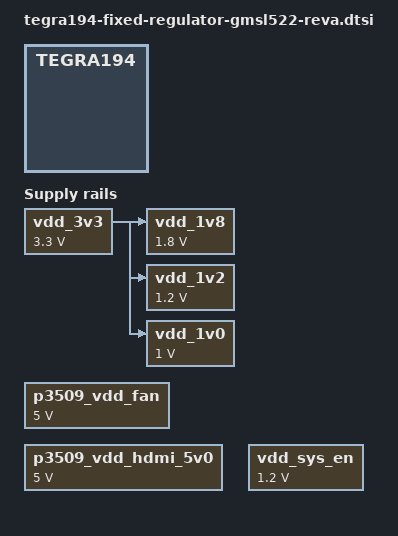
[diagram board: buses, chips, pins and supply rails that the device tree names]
/*
 * Copyright (c) 2023, Analog Devices Inc.  All rights reserved.
 *
 * This program is free software; you can redistribute it and/or modify
 * it under the terms of the GNU General Public License as published by
 * the Free Software Foundation; either version 2 of the License, or
 * (at your option) any later version.
 *
 * This program is distributed in the hope that it will be useful, but WITHOUT
 * ANY WARRANTY; without even the implied warranty of MERCHANTABILITY or
 * FITNESS FOR A PARTICULAR PURPOSE.  See the GNU General Public License for
 * more details.
 */

/ {
	fixed-regulators {
		vdd_3v3: regulator@101 {
			compatible = "regulator-fixed";
			reg = <101>;
			regulator-name = "vdd-3v3";
			regulator-min-microvolt = <3300000>;
			regulator-max-microvolt = <3300000>;
		};

		vdd_1v8: regulator@102 {
			compatible = "regulator-fixed";
			reg = <102>;
			regulator-name = "vdd-1v8";
			regulator-min-microvolt = <1800000>;
			regulator-max-microvolt = <1800000>;
			vin-supply = <&vdd_3v3>;
		};

		vdd_1v2: regulator@107 {
			compatible = "regulator-fixed";
			reg = <107>;
			regulator-name = "vdd-1v2";
			regulator-min-microvolt = <1200000>;
			regulator-max-microvolt = <1200000>;
			vin-supply = <&vdd_3v3>;
		};

		vdd_1v0: regulator@105 {
			compatible = "regulator-fixed";
			reg = <105>;
			regulator-name = "vdd-1v0";
			regulator-min-microvolt = <1000000>;
			regulator-max-microvolt = <1000000>;
			vin-supply = <&vdd_3v3>;
		};

		p3509_vdd_fan: regulator@111 {
			compatible = "regulator-fixed";
			reg = <111>;
			regulator-name = "vdd-fan";
			regulator-min-microvolt = <5000000>;
			regulator-max-microvolt = <5000000>;
		};

		p3509_vdd_hdmi_5v0: regulator@112 {
			compatible = "regulator-fixed";
			reg = <112>;
			regulator-name = "vdd-hdmi-5v0";
			regulator-min-microvolt = <5000000>;
			regulator-max-microvolt = <5000000>;
			enable-active-high;
		};

		vdd_sys_en: regulator@113 {
			compatible = "regulator-fixed";
			reg = <113>;
			regulator-name = "vdd_sys_en";
			regulator-min-microvolt = <1200000>;
			regulator-max-microvolt = <1200000>;
			enable-active-high;
		};
	};
};
